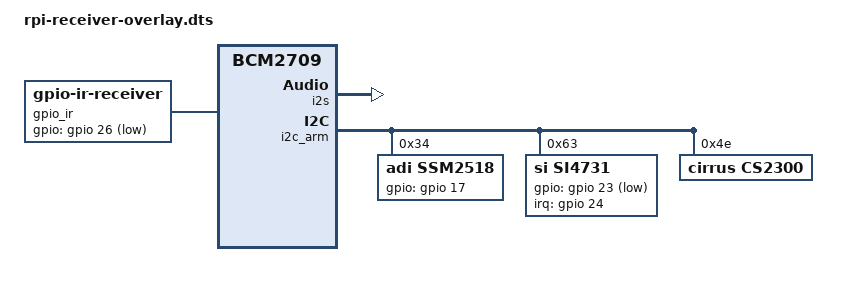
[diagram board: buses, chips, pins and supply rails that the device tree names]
/*
* Definitions for Raspberry Receiver
*/
/dts-v1/;
/plugin/;

/ {
	compatible = "brcm,bcm2708", "brcm,bcm2709";

	fragment@0 {
		target = <&i2s>;
		__overlay__ {
			status = "okay"; /* device is enabled */
		};
	};

	fragment@1 {
		target = <&gpio>;
		__overlay__ {
			status = "okay"; /* device is enabled */
			ssm2518_pins: ssm2518_pins {
				brcm,pins = <17>; /* gpio no. */
				brcm,function = <1>; /* 0:in, 1:out */
				brcm,pull = <1>; /* 2:up 1:down 0:none */
			};
			si473x_pins: si473x_pins {
				brcm,pins = <23>; /* gpio no. */
				brcm,function = <1>; /* 0:in, 1:out */
				brcm,pull = <1>; /* 2:up 1:down 0:none */
			};
			gpio_ir_pins: gpio_ir_pins {
				brcm,pins = <26>;
				brcm,function = <0>; // in
				brcm,pull = <2>; // up
			};
		};
	};

	fragment@2 {
		target = <&i2c_arm>;
		__overlay__ {
			#address-cells = <1>;
			#size-cells = <0>;
			status = "okay"; /* device is enabled */
			ssm2518: ssm2518@34 {
				#sound-dai-cells = <0>;
				compatible = "adi,ssm2518";
				reg = <0x34>;
				pinctrl-names = "default";
				pinctrl-0 = <&ssm2518_pins>;
				gpios = <&gpio 17 0>; /* GPIO_ACTIVE_HIGH for ssm2518*/
				status = "okay"; /* device is enabled */
			};
			si4731: si4731@63 {
				#sound-dai-cells = <0>;
				compatible = "si,si4731";
				reg = <0x63>;
				pinctrl-names = "default";
				pinctrl-0 = <&si473x_pins>;
				gpios = <&gpio 23 1>; /* GPIO_ACTIVE_LOW for si4731*/
				interrupt-parent = <&gpio>;
				interrupts = <24 2>; /* falling edge */
				fm_seek_tune_rssi_treshold = /bits/ 16 <0x0014>;
				fm_seek_tune_snr_threshold = /bits/ 16 <0x0003>;
				fm_max_tune_error = /bits/ 16 <0x0014>;
				am_seek_rssi_threshold = /bits/ 16 <0x0019>;
				am_seek_snr_threshold = /bits/ 16 <0x0005>;
				status = "okay"; /* device is enabled */
			};
			cs2300: cs2300@4e {
				#clock-cells = <0>;
				clock-output-names = "i2s_mclk";
				compatible = "cirrus,cs2300";
				reg = <0x4e>;
				ratio-eff = <256>;
				aux-out-src = "disabled";
				min-loop-bw = <128>;
				//clock-skip-enable;
				status = "okay"; /* device is enabled */
			};
		};
	};
	fragment@3 {
		target = <&sound>;
		__overlay__ {
			compatible = "htl-steyr,rpi-receiver";
			rpi-receiver,name = "rpiReceiver";
			rpi-receiver,widgets = "Speaker", "Speaker Out",
									"Line", "In Tuner";
			rpi-receiver,routing = "Speaker Out", "OUTL",
									"Speaker Out", "OUTR",
									"In Tuner", "ROUT",
									"In Tuner", "LOUT";
			rpi-receiver,mclk-fs = <256>;
			status = "okay"; /* device is enabled */
			rpi-receiver,dai-link@0 { /* I2S <- si4731 */
				format = "i2s";
				cpu {
					sound-dai = <&i2s 0>;
				};
				codec {
					sound-dai = <&si4731 0>;
					clocks = <&cs2300>;
				};
			};
			rpi-receiver,dai-link@1 { /* I2S -> ssm2518 */
				format = "i2s";
				cpu {
					sound-dai = <&i2s 0>;
				};
				codec {
					sound-dai = <&ssm2518 0>;
					clocks = <&cs2300>;
				};
			};
		};
	};
	fragment@4 {
		target-path = "/";
		__overlay__ {
			gpio_ir: ir-receiver {
				compatible = "gpio-ir-receiver";
				gpios = <&gpio 26 1>;
				status = "okay";
			};
		};
	};
};
